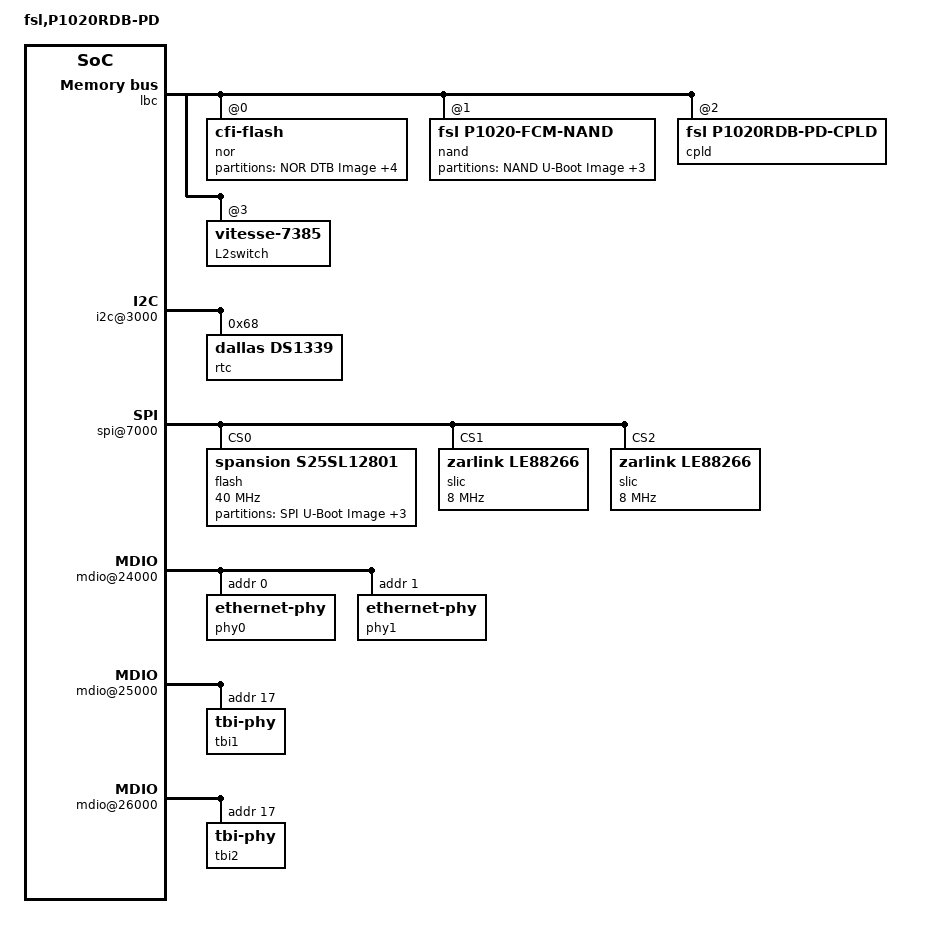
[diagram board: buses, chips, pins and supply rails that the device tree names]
/*
 * P1020 RDB-PD Device Tree Source (32-bit address map)
 *
 * Copyright 2013 Freescale Semiconductor Inc.
 *
 * Redistribution and use in source and binary forms, with or without
 * modification, are permitted provided that the following conditions are met:
 *     * Redistributions of source code must retain the above copyright
 *       notice, this list of conditions and the following disclaimer.
 *     * Redistributions in binary form must reproduce the above copyright
 *       notice, this list of conditions and the following disclaimer in the
 *       documentation and/or other materials provided with the distribution.
 *     * Neither the name of Freescale Semiconductor nor the
 *       names of its contributors may be used to endorse or promote products
 *       derived from this software without specific prior written permission.
 *
 *
 * ALTERNATIVELY, this software may be distributed under the terms of the
 * GNU General Public License ("GPL") as published by the Free Software
 * Foundation, either version 2 of that License or (at your option) any
 * later version.
 *
 * THIS SOFTWARE IS PROVIDED BY Freescale Semiconductor ``AS IS'' AND ANY
 * EXPRESS OR IMPLIED WARRANTIES, INCLUDING, BUT NOT LIMITED TO, THE IMPLIED
 * WARRANTIES OF MERCHANTABILITY AND FITNESS FOR A PARTICULAR PURPOSE ARE
 * DISCLAIMED. IN NO EVENT SHALL Freescale Semiconductor BE LIABLE FOR ANY
 * DIRECT, INDIRECT, INCIDENTAL, SPECIAL, EXEMPLARY, OR CONSEQUENTIAL DAMAGES
 * (INCLUDING, BUT NOT LIMITED TO, PROCUREMENT OF SUBSTITUTE GOODS OR SERVICES;
 * LOSS OF USE, DATA, OR PROFITS; OR BUSINESS INTERRUPTION) HOWEVER CAUSED AND
 * ON ANY THEORY OF LIABILITY, WHETHER IN CONTRACT, STRICT LIABILITY, OR TORT
 * (INCLUDING NEGLIGENCE OR OTHERWISE) ARISING IN ANY WAY OUT OF THE USE OF THIS
 * SOFTWARE, EVEN IF ADVISED OF THE POSSIBILITY OF SUCH DAMAGE.
 */

/include/ "fsl/p1020si-pre.dtsi"
/ {
	model = "fsl,P1020RDB-PD";
	compatible = "fsl,P1020RDB-PD";

	memory {
		device_type = "memory";
	};

	lbc: localbus@ffe05000 {
		reg = <0x0 0xffe05000 0x0 0x1000>;

		/* NOR, NAND flash, L2 switch and CPLD */
		ranges = <0x0 0x0 0x0 0xec000000 0x04000000
			  0x1 0x0 0x0 0xff800000 0x00040000
			  0x2 0x0 0x0 0xffa00000 0x00020000
			  0x3 0x0 0x0 0xffb00000 0x00020000>;

		nor@0,0 {
			#address-cells = <1>;
			#size-cells = <1>;
			compatible = "cfi-flash";
			reg = <0x0 0x0 0x4000000>;
			bank-width = <2>;
			device-width = <1>;

			partition@0 {
				/* 128KB for DTB Image */
				reg = <0x0 0x00020000>;
				label = "NOR DTB Image";
			};

			partition@20000 {
				/* 3.875 MB for Linux Kernel Image */
				reg = <0x00020000 0x003e0000>;
				label = "NOR Linux Kernel Image";
			};

			partition@400000 {
				/* 58MB for Root file System */
				reg = <0x00400000 0x03a00000>;
				label = "NOR Root File System";
			};

			partition@3e00000 {
				/* This location must not be altered  */
				/* 1M for Vitesse 7385 Switch firmware */
				reg = <0x3e00000 0x00100000>;
				label = "NOR Vitesse-7385 Firmware";
				read-only;
			};

			partition@3f00000 {
				/* This location must not be altered  */
				/* 512KB for u-boot Bootloader Image */
				/* 512KB for u-boot Environment Variables */
				reg = <0x03f00000 0x00100000>;
				label = "NOR U-Boot Image";
				read-only;
			};
		};

		nand@1,0 {
			#address-cells = <1>;
			#size-cells = <1>;
			compatible = "fsl,p1020-fcm-nand",
				     "fsl,elbc-fcm-nand";
			reg = <0x1 0x0 0x40000>;

			partition@0 {
				/* This location must not be altered  */
				/* 1MB for u-boot Bootloader Image */
				reg = <0x0 0x00100000>;
				label = "NAND U-Boot Image";
				read-only;
			};

			partition@100000 {
				/* 1MB for DTB Image */
				reg = <0x00100000 0x00100000>;
				label = "NAND DTB Image";
			};

			partition@200000 {
				/* 4MB for Linux Kernel Image */
				reg = <0x00200000 0x00400000>;
				label = "NAND Linux Kernel Image";
			};

			partition@600000 {
				/* 122MB for File System Image */
				reg = <0x00600000 0x07a00000>;
				label = "NAND File System Image";
			};
		};

		cpld@2,0 {
			compatible = "fsl,p1020rdb-pd-cpld";
			reg = <0x2 0x0 0x20000>;
		};

		L2switch@3,0 {
			#address-cells = <1>;
			#size-cells = <1>;
			compatible = "vitesse-7385";
			reg = <0x3 0x0 0x20000>;
		};
	};

	soc: soc@ffe00000 {
		ranges = <0x0 0x0 0xffe00000 0x100000>;

		i2c@3000 {
			rtc@68 {
				compatible = "dallas,ds1339";
				reg = <0x68>;
			};
		};

		spi@7000 {
			flash@0 {
				#address-cells = <1>;
				#size-cells = <1>;
				compatible = "spansion,s25sl12801";
				reg = <0>;
				/* input clock */
				spi-max-frequency = <40000000>;

				partition@0 {
					/* 512KB for u-boot Bootloader Image */
					reg = <0x0 0x00080000>;
					label = "SPI U-Boot Image";
					read-only;
				};

				partition@80000 {
					/* 512KB for DTB Image*/
					reg = <0x00080000 0x00080000>;
					label = "SPI DTB Image";
				};

				partition@100000 {
					/* 4MB for Linux Kernel Image */
					reg = <0x00100000 0x00400000>;
					label = "SPI Linux Kernel Image";
				};

				partition@500000 {
					/* 11MB for FS System Image */
					reg = <0x00500000 0x00b00000>;
					label = "SPI File System Image";
				};
			};

			slic@0 {
				compatible = "zarlink,le88266";
				reg = <1>;
				spi-max-frequency = <8000000>;
			};

			slic@1 {
				compatible = "zarlink,le88266";
				reg = <2>;
				spi-max-frequency = <8000000>;
			};
		};

		mdio@24000 {
			phy0: ethernet-phy@0 {
				interrupts = <3 1 0 0>;
				reg = <0x0>;
			};

			phy1: ethernet-phy@1 {
				interrupts = <2 1 0 0>;
				reg = <0x1>;
			};
		};

		mdio@25000 {
			tbi1: tbi-phy@11 {
				reg = <0x11>;
				device_type = "tbi-phy";
			};
		};

		mdio@26000 {
			tbi2: tbi-phy@11 {
				reg = <0x11>;
				device_type = "tbi-phy";
			};
		};

		enet0: ethernet@b0000 {
			fixed-link = <1 1 1000 0 0>;
			phy-connection-type = "rgmii-id";
		};

		enet1: ethernet@b1000 {
			phy-handle = <&phy0>;
			tbi-handle = <&tbi1>;
			phy-connection-type = "sgmii";
		};

		enet2: ethernet@b2000 {
			phy-handle = <&phy1>;
			phy-connection-type = "rgmii-id";
		};

		usb@22000 {
			phy_type = "ulpi";
		};
	};

	pci0: pcie@ffe09000 {
		reg = <0x0 0xffe09000 0x0 0x1000>;
		ranges = <0x2000000 0x0 0xa0000000 0x0 0xa0000000 0x0 0x20000000
			  0x1000000 0x0 0x00000000 0x0 0xffc10000 0x0 0x10000>;
		pcie@0 {
			ranges = <0x2000000 0x0 0xa0000000
				  0x2000000 0x0 0xa0000000
				  0x0 0x20000000

				  0x1000000 0x0 0x0
				  0x1000000 0x0 0x0
				  0x0 0x100000>;
		};
	};

	pci1: pcie@ffe0a000 {
		reg = <0x0 0xffe0a000 0x0 0x1000>;
		ranges = <0x2000000 0x0 0x80000000 0x0 0x80000000 0x0 0x20000000
			  0x1000000 0x0 0x00000000 0x0 0xffc00000 0x0 0x10000>;
		pcie@0 {
			ranges = <0x2000000 0x0 0x80000000
				  0x2000000 0x0 0x80000000
				  0x0 0x20000000

				  0x1000000 0x0 0x0
				  0x1000000 0x0 0x0
				  0x0 0x100000>;
		};
	};
};

/include/ "fsl/p1020si-post.dtsi"
